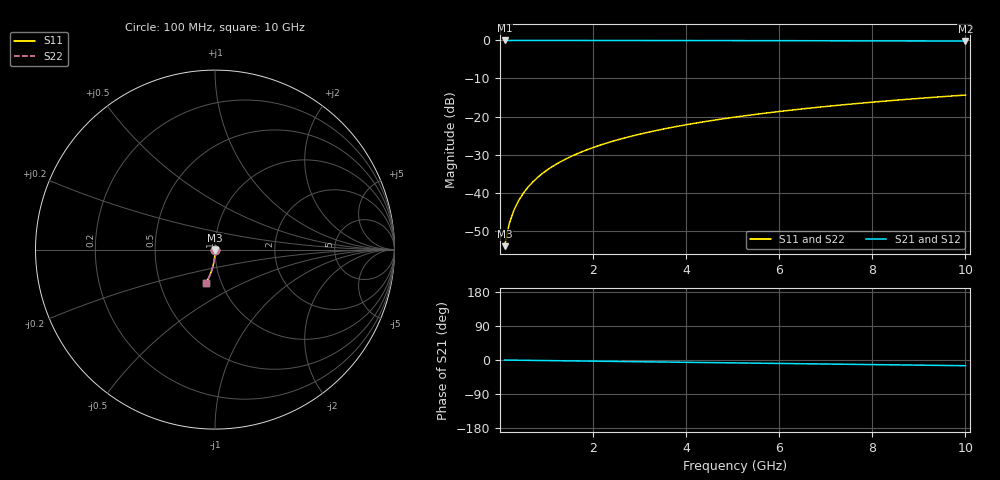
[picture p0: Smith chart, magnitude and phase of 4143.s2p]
# Hz S RI R 50.00
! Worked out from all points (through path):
!   100 points, 100 MHz to 10 GHz, reference 50 ohm
!   highest |S21| = 0.00 dB at 100 MHz (marker M1); lowest = -0.2 dB at 10 GHz (marker M2)
!   group delay of S21, straight-line fit = 4.18 ps
!   lowest |S11| = -54.1 dB at 100 MHz (marker M3), VSWR 1.00, Z = 50 - j0.195 ohm
!   |S11| at or under -10 dB: start of sweep to end of sweep
!   |S22| runs from -54.1 to -14.4 dB; largest |S21 - S12| = 0
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1e8  0.000277 -0.00195  0.9997 -0.00265  0.9997 -0.00265  0.000277 -0.00195
2e8  0.000261 -0.00391  0.9997 -0.0053  0.9997 -0.0053  0.000261 -0.00391
3e8  0.000234 -0.00586  0.9997 -0.00794  0.9997 -0.00794  0.000234 -0.00586
4e8  0.000197 -0.00781  0.9996 -0.0106  0.9996 -0.0106  0.000197 -0.00781
5e8  0.000149 -0.00977  0.9996 -0.0132  0.9996 -0.0132  0.000149 -0.00977
6e8  9.1e-05 -0.0117  0.9995 -0.0159  0.9995 -0.0159  9.1e-05 -0.0117
7e8  2.23e-05 -0.0137  0.9994 -0.0185  0.9994 -0.0185  2.23e-05 -0.0137
8e8  -5.67e-05 -0.0156  0.9993 -0.0212  0.9993 -0.0212  -5.67e-05 -0.0156
9e8  -0.000146 -0.0176  0.9992 -0.0238  0.9992 -0.0238  -0.000146 -0.0176
1.1e9  -0.000356 -0.0215  0.999 -0.0291  0.999 -0.0291  -0.000356 -0.0215
1.4e9  -0.000749 -0.0273  0.9986 -0.0371  0.9986 -0.0371  -0.000749 -0.0273
1.8e9  -0.00142 -0.0351  0.9979 -0.0476  0.9979 -0.0476  -0.00142 -0.0351
2.1e9  -0.00203 -0.0409  0.9973 -0.0555  0.9973 -0.0555  -0.00203 -0.0409
2.5e9  -0.00298 -0.0487  0.9963 -0.0661  0.9963 -0.0661  -0.00298 -0.0487
2.9e9  -0.0041 -0.0564  0.9951 -0.0766  0.9951 -0.0766  -0.0041 -0.0564
3.4e9  -0.00573 -0.066  0.9934 -0.0897  0.9934 -0.0897  -0.00573 -0.066
4.2e9  -0.00885 -0.0813  0.9901 -0.1105  0.9901 -0.1105  -0.00885 -0.0813
5.1e9  -0.0131 -0.0982  0.9856 -0.1337  0.9856 -0.1337  -0.0131 -0.0982
5.9e9  -0.0176 -0.1131  0.9809 -0.1542  0.9809 -0.1542  -0.0176 -0.1131
6.7e9  -0.0227 -0.1277  0.9756 -0.1744  0.9756 -0.1744  -0.0227 -0.1277
8.4e9  -0.0354 -0.1579  0.9623 -0.2165  0.9623 -0.2165  -0.0354 -0.1579
1e10  -0.0496 -0.1849  0.9473 -0.2547  0.9473 -0.2547  -0.0496 -0.1849
